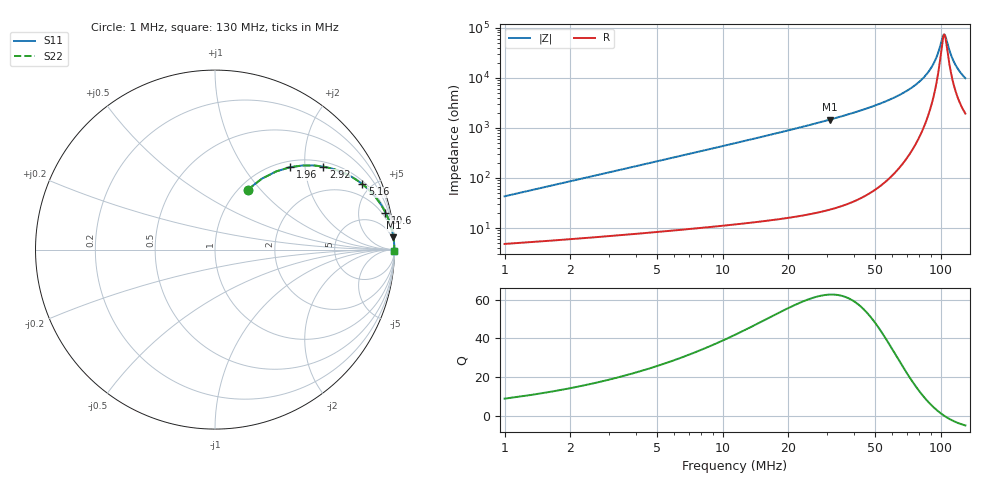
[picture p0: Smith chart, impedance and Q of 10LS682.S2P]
! Coilcraft 1008LS-682 Chip Inductor
! 5 August 2002
# MHZ S MA R 50
!Freq  MagS11  AngS11  MagS21  AngS21  MagS12  AngS12  MagS22  AngS22
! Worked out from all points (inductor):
!   405 points, 1 MHz to 130 MHz, reference 50 ohm
!   read as one part in series: L = 6.8 uH near 1.64 MHz
!   highest Q = 62.6 at 31.08 MHz (marker M1), where L = 7.47 uH
!   self-resonance near 104 MHz
!   S11 on the Smith chart (normalised r, x): 1 MHz: 1.10, +0.85; 1.96 MHz: 1.12, +1.68; 2.92 MHz: 1.14, +2.50; 5.16 MHz: 1.17, +4.42; 10.6 MHz: 1.23, +9.15; 130 MHz: open
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1  0.3799 61.4  0.8834 -22.2  0.8834 -22.2  0.3799 61.4
1.96  0.6218 47.6  0.7404 -38.3  0.7404 -38.3  0.6218 47.6
2.92  0.761 37.4  0.6086 -49.5  0.6086 -49.5  0.761 37.4
3.88  0.8401 30.3  0.5055 -57.1  0.5055 -57.1  0.8401 30.3
5.16  0.8984 23.9  0.4062 -63.9  0.4062 -63.9  0.8984 23.9
7.4  0.9457 17.3  0.2974 -70.9  0.2974 -70.9  0.9457 17.3
10.6  0.9719 12.3  0.2123 -76.3  0.2123 -76.3  0.9719 12.3
16.04  0.9873 8.1  0.1406 -80.8  0.1406 -80.8  0.9873 8.1
22.76  0.9936 5.6  0.09726 -83.4  0.09726 -83.4  0.9936 5.6
31.08  0.9966 3.9  0.06833 -85.2  0.06833 -85.2  0.9966 3.9
44.2  0.9983 2.5  0.0433 -86.5  0.0433 -86.5  0.9983 2.5
65.64  0.999 1.2  0.02143 -86.7  0.02143 -86.7  0.999 1.2
77.8  0.999 0.8  0.01326 -85.3  0.01326 -85.3  0.999 0.8
87.08  0.9989 0.5  0.008099 -82.1  0.008099 -82.1  0.9989 0.5
95.08  0.9988 0.2  0.004222 -73.4  0.004222 -73.4  0.9988 0.2
103.4  0.9986 0.0  0.001387 -11.9  0.001387 -11.9  0.9986 0.0
105.32  0.9986 -0.0  0.001498 21.0  0.001498 21.0  0.9986 -0.0
108.52  0.9985 -0.1  0.002385 51.9  0.002385 51.9  0.9985 -0.1
112.36  0.9984 -0.2  0.003773 65.4  0.003773 65.4  0.9984 -0.2
117.16  0.9983 -0.3  0.005573 72.2  0.005573 72.2  0.9983 -0.3
122.92  0.9981 -0.4  0.007699 75.9  0.007699 75.9  0.9981 -0.4
130  0.9979 -0.6  0.01023 78.1  0.01023 78.1  0.9979 -0.6
